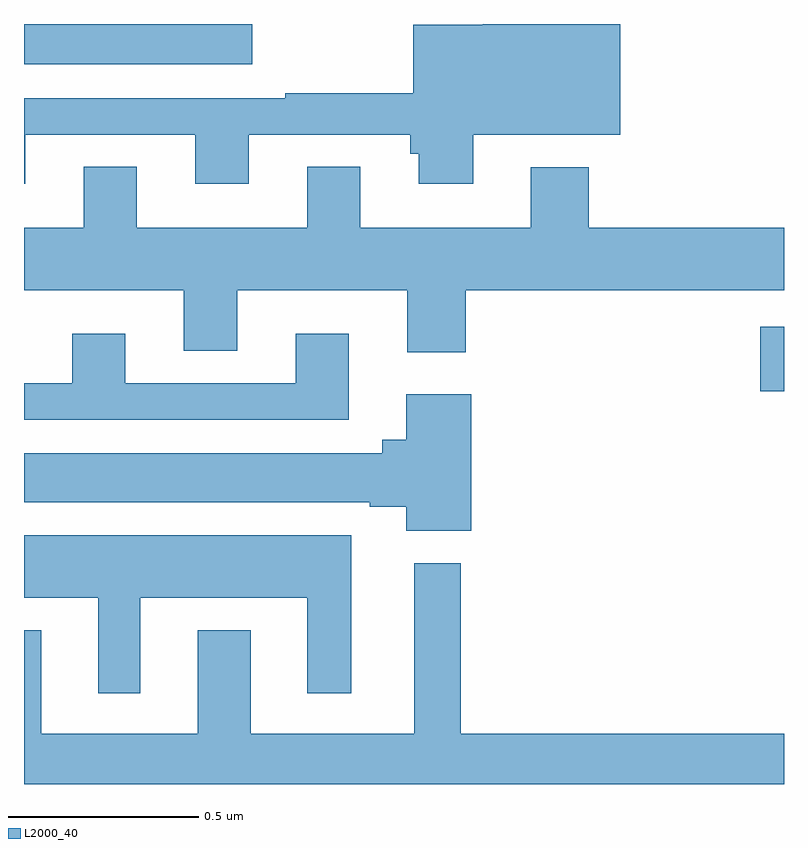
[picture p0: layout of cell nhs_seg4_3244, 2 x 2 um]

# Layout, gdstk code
import gdstk
lib = gdstk.Library(unit=1e-6, precision=1e-09)
def R(c, l, rs):  # rectangles x0, y0, x1, y1
    for r in rs: c.add(gdstk.rectangle(r[:2], r[2:], *l))
def P(c, l, *ps):  # polygons
    for p in ps: c.add(gdstk.Polygon(p, *l))
L2000_40 = (2000, 40)

nhs_seg4_3244 = lib.new_cell('nhs_seg4_3244')
R(nhs_seg4_3244, L2000_40, [(152.937,749.933,153,750.103), (151,750.794,151.6,750.9)])
P(nhs_seg4_3244, L2000_40, [(151.003,750.609),(151.451,750.609),(151.451,750.48),(151.591,750.48),(151.591,750.609),(152.017,750.609),(152.017,750.558),(152.039,750.558),(152.039,750.48),(152.182,750.48),(152.182,750.608),(152.569,750.608),(152.569,750.9),(152.207,750.9),(152.207,750.898),(152.024,750.898),(152.024,750.718),(151.687,750.718),(151.687,750.705),(151,750.705),(151,750.48),(151.003,750.48)],
  [(152.162,750.2),(153,750.2),(153,750.364),(152.486,750.364),(152.486,750.523),(152.333,750.523),(152.333,750.364),(151.885,750.364),(151.885,750.524),(151.745,750.524),(151.745,750.364),(151.297,750.364),(151.297,750.524),(151.157,750.524),(151.157,750.364),(151,750.364),(151,750.2),(151.421,750.2),(151.421,750.04),(151.561,750.04),(151.561,750.2),(152.009,750.2),(152.009,750.036),(152.162,750.036)],
  [(151.855,750.085),(151.715,750.085),(151.715,749.955),(151.267,749.955),(151.267,750.085),(151.127,750.085),(151.127,749.955),(151,749.955),(151,749.859),(151.855,749.859)],
  [(152.177,749.926),(152.006,749.926),(152.006,749.806),(151.943,749.806),(151.943,749.77),(151,749.77),(151,749.642),(151.91,749.642),(151.91,749.63),(152.006,749.63),(152.006,749.566),(152.177,749.566)],
  [(151.306,749.39),(151.745,749.39),(151.745,749.139),(151.861,749.139),(151.861,749.554),(151,749.554),(151,749.39),(151.196,749.39),(151.196,749.139),(151.306,749.139)],
  [(153,749.032),(152.149,749.032),(152.149,749.481),(152.027,749.481),(152.027,749.032),(151.597,749.032),(151.597,749.305),(151.457,749.305),(151.457,749.032),(151.045,749.032),(151.045,749.305),(151,749.305),(151,748.9),(153,748.9)])

lib.write_gds('nhs_seg4_3244.gds')
